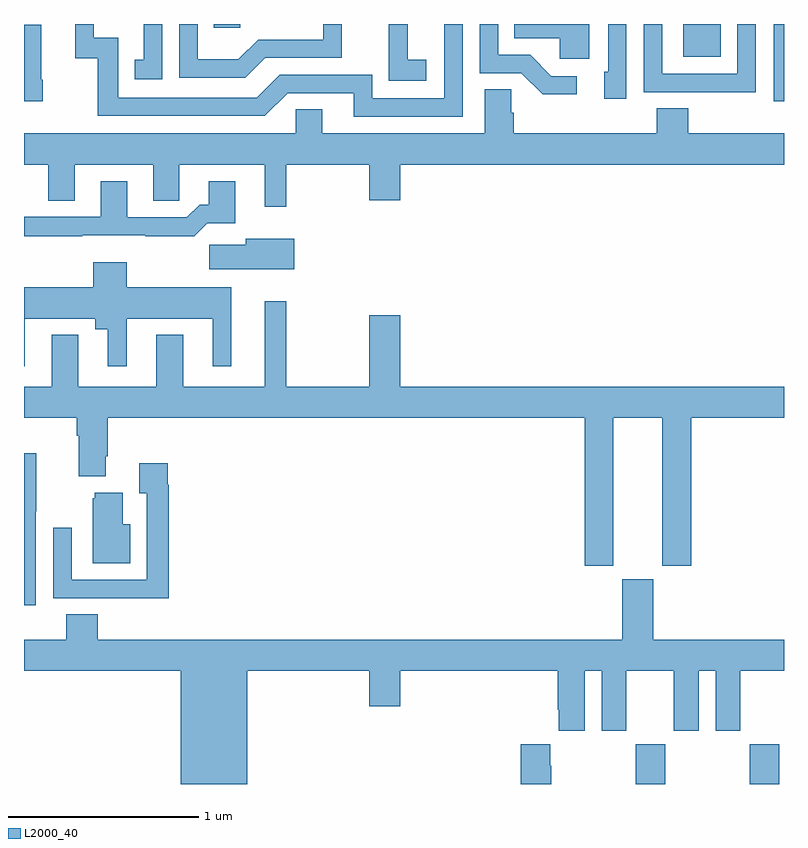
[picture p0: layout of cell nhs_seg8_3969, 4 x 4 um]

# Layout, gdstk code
import gdstk
lib = gdstk.Library(unit=1e-6, precision=1e-09)
def R(c, l, rs):  # rectangles x0, y0, x1, y1
    for r in rs: c.add(gdstk.rectangle(r[:2], r[2:], *l))
def P(c, l, *ps):  # polygons
    for p in ps: c.add(gdstk.Polygon(p, *l))
L2000_40 = (2000, 40)

nhs_seg8_3969 = lib.new_cell('nhs_seg8_3969')
R(nhs_seg8_3969, L2000_40, [(358.219,1119.9,358.374,1120.108), (358.819,1119.9,358.974,1120.108), (358.946,1123.494,359,1123.9), (358.469,1123.727,358.666,1123.9), (355.999,1123.881,356.139,1123.9)])
P(nhs_seg8_3969, L2000_40, [(356.269,1123.722),(356.673,1123.722),(356.673,1123.9),(356.574,1123.9),(356.574,1123.818),(356.232,1123.818),(356.128,1123.714),(355.914,1123.714),(355.914,1123.9),(355.818,1123.9),(355.818,1123.617),(356.164,1123.617)],
  [(357.309,1123.9),(357.213,1123.9),(357.213,1123.509),(356.832,1123.509),(356.832,1123.632),(356.346,1123.632),(356.226,1123.512),(355.497,1123.512),(355.497,1123.827),(355.368,1123.827),(355.368,1123.9),(355.271,1123.9),(355.271,1123.719),(355.389,1123.719),(355.389,1123.416),(356.268,1123.416),(356.388,1123.536),(356.735,1123.536),(356.735,1123.413),(357.309,1123.413)],
  [(357.118,1123.711),(357.02,1123.711),(357.02,1123.9),(356.921,1123.9),(356.921,1123.807),(356.92,1123.807),(356.92,1123.601),(357.118,1123.601)],
  [(357.976,1123.9),(357.58,1123.9),(357.58,1123.826),(357.819,1123.826),(357.819,1123.718),(357.976,1123.718)],
  [(357.91,1123.626),(357.775,1123.626),(357.664,1123.737),(357.495,1123.737),(357.495,1123.9),(357.399,1123.9),(357.399,1123.641),(357.618,1123.641),(357.731,1123.529),(357.91,1123.529)],
  [(358.851,1123.9),(358.755,1123.9),(358.755,1123.638),(358.359,1123.638),(358.359,1123.9),(358.263,1123.9),(358.263,1123.542),(358.579,1123.542),(358.579,1123.541),(358.851,1123.541)],
  [(355.728,1123.9),(355.631,1123.9),(355.631,1123.713),(355.582,1123.713),(355.582,1123.608),(355.728,1123.608)],
  [(358.17,1123.9),(358.074,1123.9),(358.074,1123.65),(358.055,1123.65),(358.055,1123.506),(358.17,1123.506)],
  [(355.098,1123.606),(355.09,1123.606),(355.09,1123.897),(355,1123.897),(355,1123.494),(355.098,1123.494)],
  [(356.381,1123.16),(356.816,1123.16),(356.816,1122.972),(356.98,1122.972),(356.98,1123.16),(359,1123.16),(359,1123.324),(358.496,1123.324),(358.496,1123.457),(358.331,1123.457),(358.331,1123.324),(357.578,1123.324),(357.578,1123.433),(357.564,1123.433),(357.564,1123.556),(357.425,1123.556),(357.425,1123.324),(356.569,1123.324),(356.569,1123.451),(356.43,1123.451),(356.43,1123.324),(355,1123.324),(355,1123.16),(355.127,1123.16),(355.127,1122.97),(355.267,1122.97),(355.267,1123.16),(355.679,1123.16),(355.679,1122.97),(355.818,1122.97),(355.818,1123.16),(356.267,1123.16),(356.267,1122.939),(356.381,1122.939)],
  [(355.964,1122.851),(356.113,1122.851),(356.113,1123.072),(355.973,1123.072),(355.973,1122.949),(355.924,1122.949),(355.857,1122.882),(355.543,1122.882),(355.543,1123.072),(355.403,1123.072),(355.403,1122.885),(355,1122.885),(355,1122.784),(355.307,1122.784),(355.307,1122.788),(355.639,1122.788),(355.639,1122.782),(355.895,1122.782)],
  [(356.422,1122.769),(356.168,1122.769),(356.168,1122.737),(355.974,1122.737),(355.974,1122.608),(356.422,1122.608)],
  [(355.003,1122.35),(355.376,1122.35),(355.376,1122.293),(355.442,1122.293),(355.442,1122.099),(355.54,1122.099),(355.54,1122.35),(355.994,1122.35),(355.994,1122.099),(356.092,1122.099),(356.092,1122.514),(355.542,1122.514),(355.542,1122.646),(355.364,1122.646),(355.364,1122.514),(355,1122.514),(355,1122.099),(355.003,1122.099)],
  [(358.102,1121.828),(358.358,1121.828),(358.358,1121.049),(358.511,1121.049),(358.511,1121.828),(359,1121.828),(359,1121.992),(356.98,1121.992),(356.98,1122.367),(356.816,1122.367),(356.816,1121.992),(356.381,1121.992),(356.381,1122.442),(356.267,1122.442),(356.267,1121.992),(355.837,1121.992),(355.837,1122.265),(355.697,1122.265),(355.697,1121.992),(355.285,1121.992),(355.285,1122.265),(355.145,1122.265),(355.145,1121.992),(355,1121.992),(355,1121.828),(355.277,1121.828),(355.277,1121.732),(355.289,1121.732),(355.289,1121.519),(355.429,1121.519),(355.429,1121.626),(355.442,1121.626),(355.442,1121.828),(357.95,1121.828),(357.95,1121.049),(358.102,1121.049)],
  [(355.062,1121.335),(355.065,1121.335),(355.065,1121.642),(355,1121.642),(355,1120.842),(355.062,1120.842)],
  [(355.763,1121.474),(355.756,1121.474),(355.756,1121.587),(355.607,1121.587),(355.607,1121.431),(355.647,1121.431),(355.647,1120.974),(355.251,1120.974),(355.251,1121.248),(355.155,1121.248),(355.155,1120.878),(355.471,1120.878),(355.471,1120.877),(355.763,1120.877)],
  [(355.558,1121.266),(355.519,1121.266),(355.519,1121.434),(355.373,1121.434),(355.373,1121.403),(355.361,1121.403),(355.361,1121.063),(355.558,1121.063)],
  [(356.176,1120.496),(356.816,1120.496),(356.816,1120.308),(356.98,1120.308),(356.98,1120.496),(357.809,1120.496),(357.809,1120.291),(357.815,1120.291),(357.815,1120.179),(357.952,1120.179),(357.952,1120.496),(358.04,1120.496),(358.04,1120.179),(358.171,1120.179),(358.171,1120.496),(358.421,1120.496),(358.421,1120.179),(358.552,1120.179),(358.552,1120.496),(358.64,1120.496),(358.64,1120.179),(358.771,1120.179),(358.771,1120.496),(359,1120.496),(359,1120.66),(358.312,1120.66),(358.312,1120.977),(358.148,1120.977),(358.148,1120.66),(355.388,1120.66),(355.388,1120.793),(355.223,1120.793),(355.223,1120.66),(355,1120.66),(355,1120.496),(355.826,1120.496),(355.826,1119.9),(356.176,1119.9)],
  [(357.774,1119.995),(357.769,1119.995),(357.769,1120.108),(357.614,1120.108),(357.614,1119.9),(357.774,1119.9)])

lib.write_gds('nhs_seg8_3969.gds')
